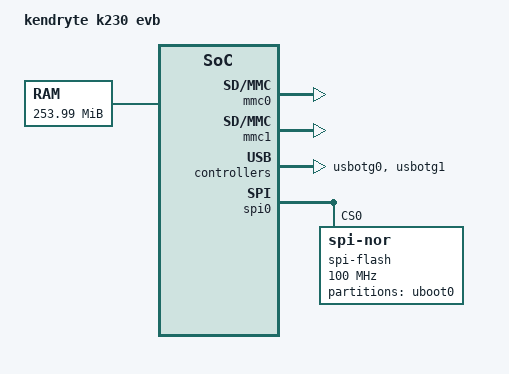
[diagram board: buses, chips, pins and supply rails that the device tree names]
/* Copyright (c) 2023, Canaan Bright Sight Co., Ltd
 *
 * Redistribution and use in source and binary forms, with or without
 * modification, are permitted provided that the following conditions are met:
 * 1. Redistributions of source code must retain the above copyright
 * notice, this list of conditions and the following disclaimer.
 * 2. Redistributions in binary form must reproduce the above copyright
 * notice, this list of conditions and the following disclaimer in the
 * documentation and/or other materials provided with the distribution.
 *
 * THIS SOFTWARE IS PROVIDED BY THE COPYRIGHT HOLDERS AND
 * CONTRIBUTORS "AS IS" AND ANY EXPRESS OR IMPLIED WARRANTIES,
 * INCLUDING, BUT NOT LIMITED TO, THE IMPLIED WARRANTIES OF
 * MERCHANTABILITY AND FITNESS FOR A PARTICULAR PURPOSE ARE
 * DISCLAIMED. IN NO EVENT SHALL THE COPYRIGHT HOLDER OR
 * CONTRIBUTORS BE LIABLE FOR ANY DIRECT, INDIRECT, INCIDENTAL,
 * SPECIAL, EXEMPLARY, OR CONSEQUENTIAL DAMAGES (INCLUDING,
 * BUT NOT LIMITED TO, PROCUREMENT OF SUBSTITUTE GOODS OR
 * SERVICES; LOSS OF USE, DATA, OR PROFITS; OR BUSINESS
 * INTERRUPTION) HOWEVER CAUSED AND ON ANY THEORY OF LIABILITY,
 * WHETHER IN CONTRACT, STRICT LIABILITY, OR TORT (INCLUDING
 * NEGLIGENCE OR OTHERWISE) ARISING IN ANY WAY OUT OF THE USE
 * OF THIS SOFTWARE, EVEN IF ADVISED OF THE POSSIBILITY OF SUCH DAMAGE.
 */
/dts-v1/;
#include <dt-bindings/pinctrl/k230_evb.h>

#define BANK_VOLTAGE_IO0_IO1	 K230_MSC_1V8  // FIXED
#define BANK_VOLTAGE_IO2_IO13	 K230_MSC_1V8
#define BANK_VOLTAGE_IO14_IO25	 K230_MSC_1V8
#define BANK_VOLTAGE_IO26_IO37	 K230_MSC_1V8
#define BANK_VOLTAGE_IO38_IO49	 K230_MSC_1V8
#define BANK_VOLTAGE_IO50_IO61	 K230_MSC_3V3
#define BANK_VOLTAGE_IO62_IO63	 K230_MSC_1V8
#include "k230.dtsi"

/ {
	model = "kendryte k230 evb";
	compatible = "kendryte,k230_evb";

	memory@0 {
		device_type = "memory";
		reg = <
				0x0 0x8000000 0x0 0x7fff000  /*MEM_LINUX_SYS*/
				0x0 0x200000 0x0 0x7dff000  /*MEM_RTT_SYS*/
			  >;
	};
};

&mmc0 {
	1-8-v;
	status = "okay";
};

&mmc1 {
	status = "okay";
};

&usbotg0 {
	status = "okay";
};

&usbotg1 {
	status = "okay";
};

&spi0 {
	status = "okay";
	rx-sample-delay-ns = <5>;
	spi-flash@0 {
		compatible = "jedec,spi-nor";
		reg = <0>;
		spi-max-frequency = <100000000>;
		spi-tx-bus-width = <8>;
		spi-rx-bus-width = <8>;
		status = "okay";
		u-boot,dm-pre-reloc;
		partitions {
			compatible = "fixed-partitions";
			#address-cells = <1>;
			#size-cells = <1>;
			uboot@0 {
				label = "uboot0";
				reg = <0x00000000 0x0080000>;
			};
		};
	};
};

&iomux {
	pinctrl-names = "default";
	pinctrl-0 = <&pins>;

//	Please pay attention to the bank voltage! will damage the chip.
	pins: iomux_pins {
		u-boot,dm-pre-reloc;
		pinctrl-single,pins = <

		// BOOT
		(IO0 ) ( 1<<SEL | 0<<SL | BANK_VOLTAGE_IO0_IO1 <<MSC | 1<<IE | 0<<OE | 1<<PU | 0<<PD | 2<<DS | 0<<ST )
		(IO1 ) ( 1<<SEL | 0<<SL | BANK_VOLTAGE_IO0_IO1 <<MSC | 1<<IE | 0<<OE | 1<<PU | 0<<PD | 2<<DS | 0<<ST )

		// JTAG
		(IO2 ) ( 1<<SEL | 0<<SL | BANK_VOLTAGE_IO2_IO13 <<MSC | 1<<IE | 0<<OE | 0<<PU | 1<<PD | 4<<DS | 1<<ST )
		(IO3 ) ( 1<<SEL | 0<<SL | BANK_VOLTAGE_IO2_IO13 <<MSC | 1<<IE | 0<<OE | 0<<PU | 0<<PD | 4<<DS | 0<<ST )
		(IO4 ) ( 1<<SEL | 0<<SL | BANK_VOLTAGE_IO2_IO13 <<MSC | 0<<IE | 1<<OE | 0<<PU | 0<<PD | 4<<DS | 0<<ST )
		(IO5 ) ( 1<<SEL | 0<<SL | BANK_VOLTAGE_IO2_IO13 <<MSC | 1<<IE | 0<<OE | 0<<PU | 0<<PD | 4<<DS | 0<<ST )
		(IO6 ) ( 1<<SEL | 0<<SL | BANK_VOLTAGE_IO2_IO13 <<MSC | 1<<IE | 0<<OE | 1<<PU | 0<<PD | 4<<DS | 0<<ST )

		// IIC4
		(IO7 ) ( 2<<SEL | 0<<SL | BANK_VOLTAGE_IO2_IO13 <<MSC | 1<<IE | 1<<OE | 1<<PU | 0<<PD | 7<<DS | 1<<ST )
		(IO8 ) ( 2<<SEL | 0<<SL | BANK_VOLTAGE_IO2_IO13 <<MSC | 1<<IE | 1<<OE | 1<<PU | 0<<PD | 7<<DS | 1<<ST )

		(IO9 ) ( 0<<SEL | 0<<SL | BANK_VOLTAGE_IO2_IO13 <<MSC | 1<<IE | 1<<OE | 0<<PU | 0<<PD | 7<<DS | 1<<ST )

		// 3D_CTRL
		(IO10) ( 1<<SEL | 0<<SL | BANK_VOLTAGE_IO2_IO13 <<MSC | 1<<IE | 0<<OE | 0<<PU | 0<<PD | 8<<DS | 0<<ST )
		(IO11) ( 1<<SEL | 0<<SL | BANK_VOLTAGE_IO2_IO13 <<MSC | 0<<IE | 1<<OE | 0<<PU | 0<<PD | 8<<DS | 0<<ST )
		(IO12) ( 1<<SEL | 0<<SL | BANK_VOLTAGE_IO2_IO13 <<MSC | 0<<IE | 1<<OE | 0<<PU | 0<<PD | 8<<DS | 0<<ST )

		// M_CLK
		(IO13) ( 1<<SEL | 0<<SL | BANK_VOLTAGE_IO2_IO13 <<MSC | 0<<IE | 1<<OE | 0<<PU | 1<<PD | 4<<DS | 1<<ST )

		// SPI0
		(IO14) ( 1<<SEL | 0<<SL | BANK_VOLTAGE_IO14_IO25<<MSC | 0<<IE | 1<<OE | 1<<PU | 0<<PD | 15<<DS | 1<<ST )
		(IO15) ( 1<<SEL | 0<<SL | BANK_VOLTAGE_IO14_IO25<<MSC | 0<<IE | 1<<OE | 0<<PU | 0<<PD | 15<<DS | 1<<ST )
		(IO16) ( 1<<SEL | 0<<SL | BANK_VOLTAGE_IO14_IO25<<MSC | 1<<IE | 1<<OE | 0<<PU | 0<<PD | 15<<DS | 1<<ST )
		(IO17) ( 1<<SEL | 0<<SL | BANK_VOLTAGE_IO14_IO25<<MSC | 1<<IE | 1<<OE | 0<<PU | 0<<PD | 15<<DS | 1<<ST )
		(IO18) ( 1<<SEL | 0<<SL | BANK_VOLTAGE_IO14_IO25<<MSC | 1<<IE | 1<<OE | 0<<PU | 0<<PD | 15<<DS | 1<<ST )
		(IO19) ( 1<<SEL | 0<<SL | BANK_VOLTAGE_IO14_IO25<<MSC | 1<<IE | 1<<OE | 0<<PU | 0<<PD | 15<<DS | 1<<ST )
		(IO20) ( 1<<SEL | 0<<SL | BANK_VOLTAGE_IO14_IO25<<MSC | 1<<IE | 1<<OE | 0<<PU | 0<<PD | 15<<DS | 1<<ST )
		(IO21) ( 1<<SEL | 0<<SL | BANK_VOLTAGE_IO14_IO25<<MSC | 1<<IE | 1<<OE | 0<<PU | 0<<PD | 15<<DS | 1<<ST )
		(IO22) ( 1<<SEL | 0<<SL | BANK_VOLTAGE_IO14_IO25<<MSC | 1<<IE | 1<<OE | 0<<PU | 0<<PD | 15<<DS | 1<<ST )
		(IO23) ( 1<<SEL | 0<<SL | BANK_VOLTAGE_IO14_IO25<<MSC | 1<<IE | 1<<OE | 0<<PU | 0<<PD | 15<<DS | 1<<ST )
		(IO24) ( 1<<SEL | 0<<SL | BANK_VOLTAGE_IO14_IO25<<MSC | 1<<IE | 0<<OE | 0<<PU | 0<<PD | 15<<DS | 1<<ST )

		(IO25) ( 0<<SEL | 0<<SL | BANK_VOLTAGE_IO14_IO25<<MSC | 1<<IE | 1<<OE | 0<<PU | 0<<PD | 7<<DS | 1<<ST )

		// PDMCLK
		(IO26) ( 3<<SEL | 0<<SL | BANK_VOLTAGE_IO26_IO37<<MSC | 0<<IE | 1<<OE | 0<<PU | 0<<PD | 7<<DS | 1<<ST )

		(IO27) ( 0<<SEL | 0<<SL | BANK_VOLTAGE_IO26_IO37<<MSC | 1<<IE | 1<<OE | 0<<PU | 0<<PD | 7<<DS | 1<<ST )
		(IO28) ( 0<<SEL | 0<<SL | BANK_VOLTAGE_IO26_IO37<<MSC | 1<<IE | 1<<OE | 0<<PU | 0<<PD | 7<<DS | 1<<ST )
		(IO29) ( 0<<SEL | 0<<SL | BANK_VOLTAGE_IO26_IO37<<MSC | 1<<IE | 1<<OE | 0<<PU | 0<<PD | 7<<DS | 1<<ST )
		(IO30) ( 0<<SEL | 0<<SL | BANK_VOLTAGE_IO26_IO37<<MSC | 1<<IE | 1<<OE | 0<<PU | 0<<PD | 7<<DS | 1<<ST )
		(IO31) ( 0<<SEL | 0<<SL | BANK_VOLTAGE_IO26_IO37<<MSC | 1<<IE | 1<<OE | 0<<PU | 0<<PD | 7<<DS | 1<<ST )

		// IIS
		(IO32) ( 2<<SEL | 0<<SL | BANK_VOLTAGE_IO26_IO37<<MSC | 0<<IE | 1<<OE | 0<<PU | 0<<PD | 4<<DS | 0<<ST )
		(IO33) ( 2<<SEL | 0<<SL | BANK_VOLTAGE_IO26_IO37<<MSC | 0<<IE | 1<<OE | 0<<PU | 0<<PD | 4<<DS | 0<<ST )
		// WIFI INTERRUPT HW-V1.1
		(IO34) ( 2<<SEL | 0<<SL | BANK_VOLTAGE_IO26_IO37<<MSC | 1<<IE | 0<<OE | 0<<PU | 0<<PD | 4<<DS | 0<<ST )
		//(IO34) ( 0<<SEL | 0<<SL | BANK_VOLTAGE_IO26_IO37<<MSC |	1<<IE | 0<<OE | 0<<PU | 1<<PD | 7<<DS | 0<<ST )
		(IO35) ( 2<<SEL | 0<<SL | BANK_VOLTAGE_IO26_IO37<<MSC | 0<<IE | 1<<OE | 0<<PU | 0<<PD | 4<<DS | 0<<ST )
		(IO36) ( 2<<SEL | 0<<SL | BANK_VOLTAGE_IO26_IO37<<MSC | 1<<IE | 0<<OE | 0<<PU | 0<<PD | 7<<DS | 1<<ST )
		(IO37) ( 2<<SEL | 0<<SL | BANK_VOLTAGE_IO26_IO37<<MSC | 1<<IE | 1<<OE | 0<<PU | 0<<PD | 7<<DS | 1<<ST )

		// UART0
		(IO38) ( 1<<SEL | 0<<SL | BANK_VOLTAGE_IO38_IO49<<MSC | 0<<IE | 1<<OE | 0<<PU | 0<<PD | 7<<DS | 1<<ST )
		(IO39) ( 1<<SEL | 0<<SL | BANK_VOLTAGE_IO38_IO49<<MSC | 1<<IE | 0<<OE | 0<<PU | 0<<PD | 7<<DS | 1<<ST )

		// IIC1
		(IO40) ( 2<<SEL | 0<<SL | BANK_VOLTAGE_IO38_IO49<<MSC | 1<<IE | 1<<OE | 1<<PU | 0<<PD | 7<<DS | 1<<ST )
		(IO41) ( 2<<SEL | 0<<SL | BANK_VOLTAGE_IO38_IO49<<MSC | 1<<IE | 1<<OE | 1<<PU | 0<<PD | 7<<DS | 1<<ST )

		(IO42) ( 0<<SEL | 0<<SL | BANK_VOLTAGE_IO38_IO49<<MSC | 1<<IE | 1<<OE | 0<<PU | 0<<PD | 7<<DS | 1<<ST )
		(IO43) ( 0<<SEL | 0<<SL | BANK_VOLTAGE_IO38_IO49<<MSC | 1<<IE | 1<<OE | 0<<PU | 0<<PD | 7<<DS | 1<<ST )

		// IIC3
		(IO44) ( 2<<SEL | 0<<SL | BANK_VOLTAGE_IO38_IO49<<MSC | 1<<IE | 1<<OE | 1<<PU | 0<<PD | 7<<DS | 1<<ST )
		(IO45) ( 2<<SEL | 0<<SL | BANK_VOLTAGE_IO38_IO49<<MSC | 1<<IE | 1<<OE | 1<<PU | 0<<PD | 7<<DS | 1<<ST )

		(IO46) ( 0<<SEL | 0<<SL | BANK_VOLTAGE_IO38_IO49<<MSC | 1<<IE | 1<<OE | 0<<PU | 0<<PD | 7<<DS | 1<<ST )
		(IO47) ( 0<<SEL | 0<<SL | BANK_VOLTAGE_IO38_IO49<<MSC | 1<<IE | 1<<OE | 0<<PU | 0<<PD | 7<<DS | 1<<ST )
		(IO48) ( 0<<SEL | 0<<SL | BANK_VOLTAGE_IO38_IO49<<MSC | 1<<IE | 1<<OE | 0<<PU | 0<<PD | 7<<DS | 1<<ST )
		(IO49) ( 0<<SEL | 0<<SL | BANK_VOLTAGE_IO38_IO49<<MSC | 1<<IE | 1<<OE | 0<<PU | 0<<PD | 7<<DS | 1<<ST )

		// UART3
		(IO50) ( 1<<SEL | 0<<SL | BANK_VOLTAGE_IO50_IO61<<MSC | 0<<IE | 1<<OE | 0<<PU | 0<<PD | 7<<DS | 1<<ST )
		(IO51) ( 1<<SEL | 0<<SL | BANK_VOLTAGE_IO50_IO61<<MSC | 1<<IE | 0<<OE | 0<<PU | 0<<PD | 7<<DS | 1<<ST )

		(IO52) ( 0<<SEL | 0<<SL | BANK_VOLTAGE_IO50_IO61<<MSC | 1<<IE | 1<<OE | 0<<PU | 0<<PD | 7<<DS | 1<<ST )
		(IO53) ( 0<<SEL | 0<<SL | BANK_VOLTAGE_IO50_IO61<<MSC | 1<<IE | 1<<OE | 0<<PU | 0<<PD | 7<<DS | 1<<ST )

		// MMC1
		(IO54) ( 2<<SEL | 0<<SL | BANK_VOLTAGE_IO50_IO61<<MSC | 1<<IE | 1<<OE | 1<<PU | 0<<PD | 7<<DS | 1<<ST )
		(IO55) ( 2<<SEL | 0<<SL | BANK_VOLTAGE_IO50_IO61<<MSC | 0<<IE | 1<<OE | 0<<PU | 0<<PD | 7<<DS | 1<<ST )
		(IO56) ( 2<<SEL | 0<<SL | BANK_VOLTAGE_IO50_IO61<<MSC | 1<<IE | 1<<OE | 1<<PU | 0<<PD | 7<<DS | 1<<ST )
		(IO57) ( 2<<SEL | 0<<SL | BANK_VOLTAGE_IO50_IO61<<MSC | 1<<IE | 1<<OE | 1<<PU | 0<<PD | 7<<DS | 1<<ST )
		(IO58) ( 2<<SEL | 0<<SL | BANK_VOLTAGE_IO50_IO61<<MSC | 1<<IE | 1<<OE | 1<<PU | 0<<PD | 7<<DS | 1<<ST )
		(IO59) ( 2<<SEL | 0<<SL | BANK_VOLTAGE_IO50_IO61<<MSC | 1<<IE | 1<<OE | 1<<PU | 0<<PD | 7<<DS | 1<<ST )

		(IO60) ( 2<<SEL | 0<<SL | BANK_VOLTAGE_IO50_IO61<<MSC | 1<<IE | 1<<OE | 1<<PU | 0<<PD | 7<<DS | 1<<ST )
		(IO61) ( 2<<SEL | 0<<SL | BANK_VOLTAGE_IO50_IO61<<MSC | 1<<IE | 1<<OE | 1<<PU | 0<<PD | 7<<DS | 1<<ST )

		// DL_M_CLK
		(IO62) ( 1<<SEL | 0<<SL | BANK_VOLTAGE_IO62_IO63<<MSC | 0<<IE | 1<<OE | 0<<PU | 1<<PD | 4<<DS | 1<<ST )
		(IO63) ( 1<<SEL | 0<<SL | BANK_VOLTAGE_IO62_IO63<<MSC | 0<<IE | 1<<OE | 0<<PU | 1<<PD | 4<<DS | 1<<ST )
		>;
	};
};
